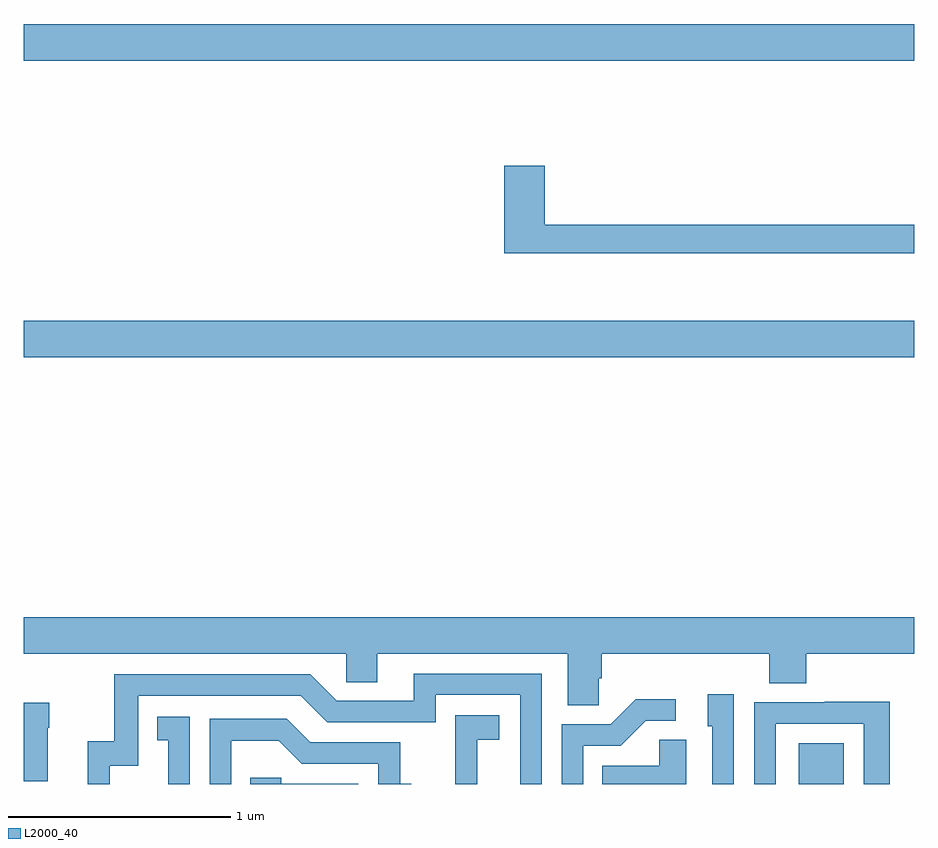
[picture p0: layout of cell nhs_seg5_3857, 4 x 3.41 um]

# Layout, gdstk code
import gdstk
lib = gdstk.Library(unit=1e-6, precision=1e-09)
def R(c, l, rs):  # rectangles x0, y0, x1, y1
    for r in rs: c.add(gdstk.rectangle(r[:2], r[2:], *l))
def P(c, l, *ps):  # polygons
    for p in ps: c.add(gdstk.Polygon(p, *l))
L2000_40 = (2000, 40)

nhs_seg5_3857 = lib.new_cell('nhs_seg5_3857')
R(nhs_seg5_3857, L2000_40, [(340.481,898.799,340.684,898.981), (337,900.716,341,900.88), (337,902.048,341,902.212)])
P(nhs_seg5_3857, L2000_40, [(341,901.31),(339.341,901.31),(339.341,901.576),(339.158,901.576),(339.158,901.182),(341,901.182)],
  [(339.582,899.275),(339.596,899.275),(339.596,899.384),(340.349,899.384),(340.349,899.251),(340.514,899.251),(340.514,899.384),(341,899.384),(341,899.548),(337,899.548),(337,899.384),(338.448,899.384),(338.448,899.257),(338.587,899.257),(338.587,899.384),(339.443,899.384),(339.443,899.152),(339.582,899.152)],
  [(337.386,898.881),(337.515,898.881),(337.515,899.196),(338.244,899.196),(338.364,899.076),(338.85,899.076),(338.85,899.199),(339.231,899.199),(339.231,898.799),(339.327,898.799),(339.327,899.295),(338.753,899.295),(338.753,899.172),(338.406,899.172),(338.286,899.292),(337.407,899.292),(337.407,898.99),(337.289,898.99),(337.289,898.799),(337.386,898.799)],
  [(340.188,899.203),(340.073,899.203),(340.073,899.058),(340.092,899.058),(340.092,898.799),(340.188,898.799)],
  [(339.513,898.971),(339.682,898.971),(339.793,899.082),(339.928,899.082),(339.928,899.18),(339.749,899.18),(339.636,899.067),(339.417,899.067),(339.417,898.799),(339.513,898.799)],
  [(340.377,899.07),(340.773,899.07),(340.773,898.799),(340.889,898.799),(340.889,899.168),(340.597,899.168),(340.597,899.166),(340.281,899.166),(340.281,898.799),(340.377,898.799)],
  [(337.108,899.051),(337.116,899.051),(337.116,899.164),(337,899.164),(337,898.811),(337.108,898.811)],
  [(339.038,898.997),(339.136,898.997),(339.136,899.107),(338.938,899.107),(338.938,898.901),(338.939,898.901),(338.939,898.799),(339.038,898.799)],
  [(337.746,899.101),(337.6,899.101),(337.6,898.995),(337.649,898.995),(337.649,898.799),(337.746,898.799)],
  [(337.932,898.994),(338.146,898.994),(338.25,898.89),(338.592,898.89),(338.592,898.799),(338.74,898.799),(338.74,898.801),(338.691,898.801),(338.691,898.986),(338.287,898.986),(338.182,899.091),(337.836,899.091),(337.836,898.799),(337.932,898.799)],
  [(339.976,898.997),(339.855,898.997),(339.855,898.882),(339.598,898.882),(339.598,898.799),(339.976,898.799)],
  [(338.502,898.8),(338.157,898.8),(338.157,898.827),(338.017,898.827),(338.017,898.799),(338.502,898.799)])

lib.write_gds('nhs_seg5_3857.gds')
